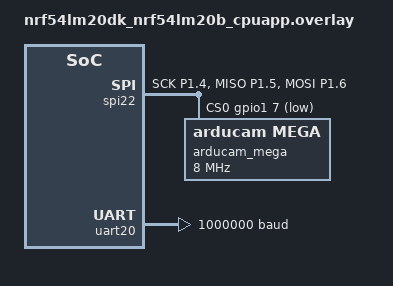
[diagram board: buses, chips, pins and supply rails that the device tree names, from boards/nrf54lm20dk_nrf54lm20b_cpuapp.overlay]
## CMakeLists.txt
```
# Copyright (c) 2026 Nordic Semiconductor
# SPDX-License-Identifier: LicenseRef-Nordic-5-Clause

cmake_minimum_required(VERSION 3.20.0)

# Re-use the arducam_mega DT binding (arducam,mega.yaml) from person_detection.
# DTS_ROOT must be appended BEFORE find_package(Zephyr), otherwise Zephyr's DTS
# pass runs without our extra binding directory and the arducam node gets
# generated without the SPI device properties from spi-device.yaml.
list(APPEND DTS_ROOT ${CMAKE_CURRENT_SOURCE_DIR}/../person_detection)

find_package(Zephyr REQUIRED HINTS $ENV{ZEPHYR_BASE})
project(finger_counter_capture)

target_sources(app PRIVATE
  src/main.c
  ../person_detection/src/drivers/arducam_mega.c
)

target_include_directories(app PRIVATE
  ../person_detection/src/drivers
)
```

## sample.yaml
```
sample:
  description: Capture Arducam frames over UART for Edge Impulse data collection
  name: finger_counter_capture

common:
  sysbuild: true
  build_only: true
  tags:
    - ci_build
    - sysbuild

tests:
  applications.finger_counter_capture:
    platform_allow:
      - nrf54lm20dk/nrf54lm20b/cpuapp
    integration_platforms:
      - nrf54lm20dk/nrf54lm20b/cpuapp
```

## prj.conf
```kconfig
# Copyright (c) 2026 Nordic Semiconductor
# SPDX-License-Identifier: LicenseRef-Nordic-5-Clause

# --- Logging: send everything to RTT so the J-Link VCOM (uart20) is binary-clean.
CONFIG_LOG=y
CONFIG_LOG_MODE_IMMEDIATE=y
CONFIG_USE_SEGGER_RTT=y
CONFIG_LOG_BACKEND_RTT=y
CONFIG_LOG_BACKEND_UART=n
CONFIG_UART_CONSOLE=n
CONFIG_PRINTK=y

# --- Arducam dependencies (mirrors applications/person_detection)
CONFIG_SPI=y
CONFIG_VIDEO=y
CONFIG_VIDEO_BUFFER_POOL_HEAP_SIZE=2200
CONFIG_VIDEO_BUFFER_POOL_NUM_MAX=4

# --- IO
CONFIG_GPIO=y

# --- UART driver: synchronous polled TX is plenty for ~33 KB/frame.
CONFIG_SERIAL=y

# --- Misc
CONFIG_ASSERT=y
CONFIG_MAIN_STACK_SIZE=4096
```

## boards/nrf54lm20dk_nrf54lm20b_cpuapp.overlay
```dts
/*
 * Copyright (c) 2026 Nordic Semiconductor ASA
 * SPDX-License-Identifier: LicenseRef-Nordic-5-Clause
 */

/*
 * uart20 is the J-Link VCOM on the nRF54LM20DK. We re-use it as a binary
 * data channel: console/shell on UART are disabled in prj.conf and logs are
 * routed to RTT, so this UART carries only the framed image payloads.
 */

&pinctrl {
	spi22_default: spi22_default {
		group1 {
			psels = <NRF_PSEL(SPIM_SCK, 1, 4)>,
				<NRF_PSEL(SPIM_MISO, 1, 5)>,
				<NRF_PSEL(SPIM_MOSI, 1, 6)>;
			bias-pull-down;
		};
	};

	spi22_sleep: spi22_sleep {
		group1 {
			psels = <NRF_PSEL(SPIM_SCK, 1, 4)>,
				<NRF_PSEL(SPIM_MISO, 1, 5)>,
				<NRF_PSEL(SPIM_MOSI, 1, 6)>;
			bias-pull-down;
			low-power-enable;
		};
	};
};

&spi22 {
	compatible = "nordic,nrf-spim";
	status = "okay";
	pinctrl-0 = <&spi22_default>;
	pinctrl-1 = <&spi22_sleep>;
	pinctrl-names = "default", "sleep";
	overrun-character = <0x00>;
	zephyr,pm-device-runtime-auto;
	cs-gpios = <&gpio1 7 GPIO_ACTIVE_LOW>;

	arducam_mega: arducam-mega@0 {
		compatible = "arducam,mega";
		reg = <0>;
		spi-max-frequency = <8000000>;
		status = "okay";
	};
};

&uart20 {
	status = "okay";
	current-speed = <1000000>;
};
```

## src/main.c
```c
/*
 * Copyright (c) 2026 Nordic Semiconductor ASA
 *
 * SPDX-License-Identifier: LicenseRef-Nordic-5-Clause
 *
 * Continuously capture Arducam frames and stream them out of uart20
 * (J-Link VCOM) as framed binary payloads. A host-side Python tool decodes
 * the frames into PNG files for upload to Edge Impulse Studio.
 *
 * Wire format (little-endian fields):
 *   offset  size  field
 *   0       4     magic    = 0xAA 0x55 0xAA 0x55
 *   4       2     width    (pixels)
 *   6       2     height   (pixels)
 *   8       1     pixfmt   (0x01 = RGB565, camera byte order)
 *   9       3     reserved (0)
 *   12      4     length   (bytes in payload)
 *   16      N     payload  (width * height * 2 bytes RGB565)
 */

#include <stdint.h>
#include <string.h>

#include <zephyr/device.h>
#include <zephyr/drivers/gpio.h>
#include <zephyr/drivers/uart.h>
#include <zephyr/drivers/video.h>
#include <zephyr/kernel.h>
#include <zephyr/logging/log.h>
#include <zephyr/sys/byteorder.h>

LOG_MODULE_REGISTER(capture, LOG_LEVEL_INF);

#define CAM_WIDTH  128
#define CAM_HEIGHT 128
#define FRAME_RGB565_BYTES ((CAM_WIDTH) * (CAM_HEIGHT) * 2)

/* Continuous capture mode: the camera stream stays running from boot, so
 * AE/AGC converges once and stays converged. We discard the first few
 * frames at boot to let exposure settle, then emit every frame thereafter.
 * Frame rate is capped by 1 Mbaud UART throughput (~33 KB/frame => ~3 fps).
 * Set INTER_FRAME_DELAY_MS to slow it down further if 3 fps is too fast.
 */
#define AE_WARMUP_FRAMES     4
#define INTER_FRAME_DELAY_MS 0

#define FRAME_MAGIC_0 0xAA
#define FRAME_MAGIC_1 0x55
#define FRAME_MAGIC_2 0xAA
#define FRAME_MAGIC_3 0x55

#define PIXFMT_RGB565 0x01

static const struct gpio_dt_spec led_capture =
	GPIO_DT_SPEC_GET(DT_ALIAS(led0), gpios);

static const struct device *uart_dev = DEVICE_DT_GET(DT_NODELABEL(uart20));

/* Static frame buffer: 32 KiB at 128x128 RGB565. */
static uint8_t frame_buf[FRAME_RGB565_BYTES];

static int led_init(const struct gpio_dt_spec *spec)
{
	int err;

	if (!gpio_is_ready_dt(spec)) {
		LOG_ERR("LED %s not ready", spec->port->name);
		return -ENODEV;
	}

	err = gpio_pin_configure_dt(spec, GPIO_OUTPUT_INACTIVE);
	if (err) {
		LOG_ERR("LED configure failed (err %d)", err);
		return err;
	}

	return 0;
}

static int capture_one_frame_into_buf(const struct device *video)
{
	size_t total = 0;
	int err;

	while (total < FRAME_RGB565_BYTES) {
		struct video_buffer *vbuf;

		err = video_dequeue(video, &vbuf, K_FOREVER);
		if (err == -EAGAIN) {
			continue;
		}
		if (err) {
			LOG_ERR("video_dequeue failed (err %d)", err);
			return err;
		}

		const size_t room = FRAME_RGB565_BYTES - total;
		const size_t chunk = MIN(vbuf->bytesused, room);

		memcpy(&frame_buf[total], vbuf->buffer, chunk);
		total += chunk;

		vbuf->type = VIDEO_BUF_TYPE_OUTPUT;
		(void)video_enqueue(video, vbuf);
	}

	return 0;
}

static void uart_send_buf(const uint8_t *buf, size_t len)
{
	for (size_t i = 0; i < len; i++) {
		uart_poll_out(uart_dev, buf[i]);
	}
}

static void send_frame(void)
{
	uint8_t header[16];

	header[0] = FRAME_MAGIC_0;
	header[1] = FRAME_MAGIC_1;
	header[2] = FRAME_MAGIC_2;
	header[3] = FRAME_MAGIC_3;
	sys_put_le16(CAM_WIDTH,  &header[4]);
	sys_put_le16(CAM_HEIGHT, &header[6]);
	header[8] = PIXFMT_RGB565;
	header[9] = 0;
	header[10] = 0;
	header[11] = 0;
	sys_put_le32(FRAME_RGB565_BYTES, &header[12]);

	uart_send_buf(header, sizeof(header));
	uart_send_buf(frame_buf, FRAME_RGB565_BYTES);
}

int main(void)
{
	int err;

	const struct device *video = DEVICE_DT_GET(DT_NODELABEL(arducam_mega));
	struct video_buffer *vbufs[2];
	struct video_format fmt = {
		.type = VIDEO_BUF_TYPE_INPUT,
		.pixelformat = VIDEO_PIX_FMT_RGB565,
		.width = CAM_WIDTH,
		.height = CAM_HEIGHT,
		.pitch = CAM_WIDTH * 2,
	};

	if (led_init(&led_capture)) {
		return -1;
	}

	if (!device_is_ready(uart_dev)) {
		LOG_ERR("Data UART not ready");
		return -1;
	}

	if (!device_is_ready(video)) {
		LOG_ERR("Arducam not ready");
		return -1;
	}

	err = video_set_format(video, &fmt);
	if (err) {
		LOG_ERR("video_set_format failed (err %d)", err);
		return -1;
	}

	for (size_t i = 0; i < ARRAY_SIZE(vbufs); i++) {
		vbufs[i] = video_buffer_alloc(1024, K_NO_WAIT);
		if (!vbufs[i]) {
			LOG_ERR("video_buffer_alloc failed for buf %u", i);
			return -1;
		}
		vbufs[i]->type = VIDEO_BUF_TYPE_OUTPUT;
		(void)video_enqueue(video, vbufs[i]);
	}

	err = video_stream_start(video, VIDEO_BUF_TYPE_OUTPUT);
	if (err) {
		LOG_ERR("video_stream_start failed (err %d)", err);
		return -1;
	}

	LOG_INF("Discarding %u AE warm-up frames", AE_WARMUP_FRAMES);
	for (uint8_t i = 0; i < AE_WARMUP_FRAMES; i++) {
		err = capture_one_frame_into_buf(video);
		if (err) {
			LOG_ERR("warm-up frame %u failed (err %d)", i, err);
			return -1;
		}
	}

	LOG_INF("Continuous capture started.");

	uint32_t frame_count = 0;
	while (true) {
		err = capture_one_frame_into_buf(video);
		if (err) {
			LOG_ERR("capture failed (err %d)", err);
			k_sleep(K_MSEC(100));
			continue;
		}

		(void)gpio_pin_toggle_dt(&led_capture);
		send_frame();
		frame_count++;

		if ((frame_count % 10) == 0) {
			LOG_INF("Streamed %u frames", frame_count);
		}

		if (INTER_FRAME_DELAY_MS > 0) {
			k_sleep(K_MSEC(INTER_FRAME_DELAY_MS));
		}
	}

	return 0;
}
```
